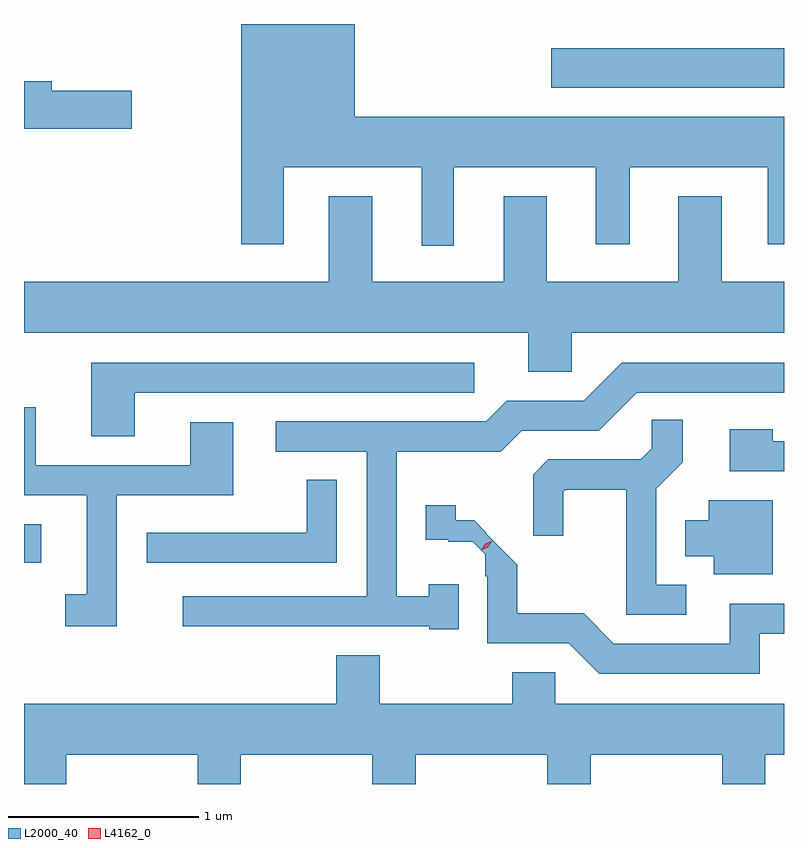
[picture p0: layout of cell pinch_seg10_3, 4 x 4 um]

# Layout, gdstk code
import gdstk
lib = gdstk.Library(unit=1e-6, precision=1e-09)
def R(c, l, rs):  # rectangles x0, y0, x1, y1
    for r in rs: c.add(gdstk.rectangle(r[:2], r[2:], *l))
def P(c, l, *ps):  # polygons
    for p in ps: c.add(gdstk.Polygon(p, *l))
L2000_40 = (2000, 40)
L4162_0 = (4162, 0)

pinch_seg10_3 = lib.new_cell('pinch_seg10_3')
R(pinch_seg10_3, L2000_40, [(848.767,2134.906,848.859,2135.109), (851.541,2137.406,852.767,2137.614)])
P(pinch_seg10_3, L2000_40, [(851.029,2136.986),(851.776,2136.986),(851.776,2136.581),(851.954,2136.581),(851.954,2136.986),(852.681,2136.986),(852.681,2136.581),(852.767,2136.581),(852.767,2137.254),(850.509,2137.254),(850.509,2137.741),(849.911,2137.741),(849.911,2136.581),(850.134,2136.581),(850.134,2136.986),(850.861,2136.986),(850.861,2136.573),(851.029,2136.573)],
  [(849.334,2137.389),(848.914,2137.389),(848.914,2137.439),(848.767,2137.439),(848.767,2137.191),(849.334,2137.191)],
  [(851.649,2136.116),(852.767,2136.116),(852.767,2136.384),(852.439,2136.384),(852.439,2136.834),(852.211,2136.834),(852.211,2136.384),(851.519,2136.384),(851.519,2136.834),(851.291,2136.834),(851.291,2136.384),(850.599,2136.384),(850.599,2136.834),(850.371,2136.834),(850.371,2136.384),(848.767,2136.384),(848.767,2136.116),(851.421,2136.116),(851.421,2135.911),(851.649,2135.911)],
  [(851.054,2134.793),(850.896,2134.793),(850.896,2134.729),(850.729,2134.729),(850.729,2135.491),(851.277,2135.491),(851.387,2135.601),(851.792,2135.601),(851.992,2135.801),(852.767,2135.801),(852.767,2135.959),(851.914,2135.959),(851.714,2135.759),(851.309,2135.759),(851.199,2135.649),(850.093,2135.649),(850.093,2135.491),(850.571,2135.491),(850.571,2134.729),(849.603,2134.729),(849.603,2134.571),(850.9,2134.571),(850.9,2134.556),(851.054,2134.556)],
  [(849.349,2135.801),(851.138,2135.801),(851.138,2135.959),(849.121,2135.959),(849.121,2135.571),(849.349,2135.571)],
  [(849.254,2135.261),(849.869,2135.261),(849.869,2135.644),(849.641,2135.644),(849.641,2135.419),(848.829,2135.419),(848.829,2135.724),(848.767,2135.724),(848.767,2135.261),(849.096,2135.261),(849.096,2134.739),(848.983,2134.739),(848.983,2134.571),(849.254,2134.571)],
  [(852.253,2134.789),(852.094,2134.789),(852.094,2135.294),(852.234,2135.434),(852.234,2135.658),(852.071,2135.658),(852.071,2135.507),(852.014,2135.449),(851.527,2135.449),(851.446,2135.369),(851.446,2135.048),(851.604,2135.048),(851.604,2135.279),(851.617,2135.291),(851.936,2135.291),(851.936,2134.631),(852.253,2134.631)],
  [(852.767,2135.544),(852.709,2135.544),(852.709,2135.609),(852.481,2135.609),(852.481,2135.386),(852.767,2135.386)],
  [(850.414,2135.343),(850.256,2135.343),(850.256,2135.064),(849.413,2135.064),(849.413,2134.906),(850.414,2134.906)],
  [(852.709,2135.234),(852.371,2135.234),(852.371,2135.129),(852.246,2135.129),(852.246,2134.941),(852.396,2134.941),(852.396,2134.846),(852.709,2134.846)],
  [(852.639,2134.531),(852.767,2134.531),(852.767,2134.689),(852.481,2134.689),(852.481,2134.479),(851.872,2134.479),(851.712,2134.639),(851.364,2134.639),(851.364,2134.894),(851.198,2135.06),(851.201,2135.064),(851.136,2135.129),(851.039,2135.129),(851.039,2135.208),(850.881,2135.208),(850.881,2135.026),(851,2135.026),(851,2135.017),(851.128,2135.017),(851.195,2134.949),(851.195,2134.834),(851.206,2134.834),(851.206,2134.481),(851.634,2134.481),(851.794,2134.321),(852.639,2134.321)],
  [(848.989,2133.896),(849.681,2133.896),(849.681,2133.741),(849.909,2133.741),(849.909,2133.896),(850.601,2133.896),(850.601,2133.741),(850.829,2133.741),(850.829,2133.896),(851.521,2133.896),(851.521,2133.741),(851.749,2133.741),(851.749,2133.896),(852.441,2133.896),(852.441,2133.741),(852.669,2133.741),(852.669,2133.896),(852.767,2133.896),(852.767,2134.164),(851.564,2134.164),(851.564,2134.329),(851.336,2134.329),(851.336,2134.164),(850.639,2134.164),(850.639,2134.419),(850.411,2134.419),(850.411,2134.164),(848.767,2134.164),(848.767,2133.741),(848.989,2133.741)])
P(pinch_seg10_3, L4162_0, [(851.173,2134.97),(851.173,2134.97),(851.196,2135.003),(851.231,2135.022),(851.232,2135.022),(851.232,2135.021),(851.209,2134.988),(851.174,2134.97)],
  [(851.177,2134.976),(851.177,2134.977),(851.195,2135.005),(851.225,2135.018),(851.226,2135.018),(851.226,2135.018),(851.208,2134.99),(851.177,2134.976)])

lib.write_gds('pinch_seg10_3.gds')
